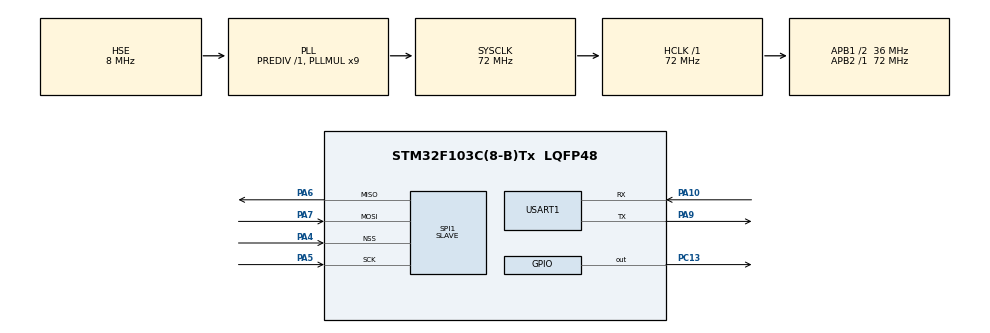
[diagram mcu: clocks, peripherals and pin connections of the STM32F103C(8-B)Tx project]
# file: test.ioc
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Mcu.Family=STM32F1
Mcu.Name=STM32F103C(8-B)Tx
Mcu.Package=LQFP48
NVIC.PriorityGroup=NVIC_PRIORITYGROUP_4
NVIC.SPI1_IRQn=true\:0\:0\:false\:false\:true\:true\:true\:true
NVIC.USART1_IRQn=true\:0\:0\:false\:false\:true\:true\:true\:true
PA10.Mode=Asynchronous
PA10.Signal=USART1_RX
PA13.Mode=Serial_Wire
PA13.Signal=SYS_JTMS-SWDIO
PA14.Mode=Serial_Wire
PA14.Signal=SYS_JTCK-SWCLK
PA4.Mode=NSS_Signal_Hard_Input
PA4.Signal=SPI1_NSS
PA5.Mode=Full_Duplex_Slave
PA5.Signal=SPI1_SCK
PA6.Mode=Full_Duplex_Slave
PA6.Signal=SPI1_MISO
PA7.Mode=Full_Duplex_Slave
PA7.Signal=SPI1_MOSI
PA9.Mode=Asynchronous
PA9.Signal=USART1_TX
PC13-TAMPER-RTC.GPIO_Speed=GPIO_SPEED_FREQ_HIGH
PC13-TAMPER-RTC.PinState=GPIO_PIN_RESET
PC13-TAMPER-RTC.Signal=GPIO_Output
PD0-OSC_IN.Mode=HSE-External-Oscillator
PD0-OSC_IN.Signal=RCC_OSC_IN
PD1-OSC_OUT.Mode=HSE-External-Oscillator
PD1-OSC_OUT.Signal=RCC_OSC_OUT
ProjectManager.HeapSize=0x200
ProjectManager.StackSize=0x400
ProjectManager.TargetToolchain=STM32CubeIDE
RCC.AHBFreq_Value=72000000
RCC.APB1CLKDivider=RCC_HCLK_DIV2
RCC.APB1Freq_Value=36000000
RCC.APB1TimFreq_Value=72000000
RCC.APB2Freq_Value=72000000
RCC.APB2TimFreq_Value=72000000
RCC.HCLKFreq_Value=72000000
RCC.PLLMUL=RCC_PLL_MUL9
RCC.PLLSourceVirtual=RCC_PLLSOURCE_HSE
RCC.SYSCLKFreq_VALUE=72000000
RCC.SYSCLKSource=RCC_SYSCLKSOURCE_PLLCLK
RCC.USBFreq_Value=72000000
SPI1.Direction=SPI_DIRECTION_2LINES
SPI1.Mode=SPI_MODE_SLAVE
SPI1.VirtualNSS=VM_NSSHARD
SPI1.VirtualType=VM_SLAVE
USART1.VirtualMode=VM_ASYNC
board=custom

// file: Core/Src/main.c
/* USER CODE BEGIN Header */
/**
  ******************************************************************************
  * @file           : main.c
  * @brief          : Main program body
  ******************************************************************************
  * @attention
  *
  * Copyright (c) 2023 STMicroelectronics.
  * All rights reserved.
  *
  * This software is licensed under terms that can be found in the LICENSE file
  * in the root directory of this software component.
  * If no LICENSE file comes with this software, it is provided AS-IS.
  *
  ******************************************************************************
  */
/* USER CODE END Header */
#include "main.h"
#include "spi.h"
#include "usart.h"
#include "gpio.h"

/* USER CODE BEGIN PD */
uint8_t RxBuffer[LENGTH];
uint8_t SPISTxBuffer[LENGTH];
uint8_t	SPISRxBuffer[LENGTH];
/* USER CODE END PD */

void SystemClock_Config(void);

int main(void)
{

  /* MCU Configuration--------------------------------------------------------*/

  /* Reset of all peripherals, Initializes the Flash interface and the Systick. */
  HAL_Init();

  /* Configure the system clock */
  SystemClock_Config();

  /* Initialize all configured peripherals */
  MX_GPIO_Init();
  MX_SPI1_Init();
  MX_USART1_UART_Init();
  /* USER CODE BEGIN 2 */
  SPIS_Init_IT();
  HAL_UART_Receive_IT(&huart1,(uint8_t*)RxBuffer,LENGTH);
  USART_printf("Init ok");
  /* USER CODE END 2 */

  /* Infinite loop */
  while (1)
  {

  }
}

void SystemClock_Config(void)
{
  RCC_OscInitTypeDef RCC_OscInitStruct = {0};
  RCC_ClkInitTypeDef RCC_ClkInitStruct = {0};

  /** Initializes the RCC Oscillators according to the specified parameters
  * in the RCC_OscInitTypeDef structure.
  */
  RCC_OscInitStruct.OscillatorType = RCC_OSCILLATORTYPE_HSE;
  RCC_OscInitStruct.HSEState = RCC_HSE_ON;
  RCC_OscInitStruct.HSEPredivValue = RCC_HSE_PREDIV_DIV1;
  RCC_OscInitStruct.HSIState = RCC_HSI_ON;
  RCC_OscInitStruct.PLL.PLLState = RCC_PLL_ON;
  RCC_OscInitStruct.PLL.PLLSource = RCC_PLLSOURCE_HSE;
  RCC_OscInitStruct.PLL.PLLMUL = RCC_PLL_MUL9;
  if (HAL_RCC_OscConfig(&RCC_OscInitStruct) != HAL_OK)
  {
    Error_Handler();
  }

  /** Initializes the CPU, AHB and APB buses clocks
  */
  RCC_ClkInitStruct.ClockType = RCC_CLOCKTYPE_HCLK|RCC_CLOCKTYPE_SYSCLK
                              |RCC_CLOCKTYPE_PCLK1|RCC_CLOCKTYPE_PCLK2;
  RCC_ClkInitStruct.SYSCLKSource = RCC_SYSCLKSOURCE_PLLCLK;
  RCC_ClkInitStruct.AHBCLKDivider = RCC_SYSCLK_DIV1;
  RCC_ClkInitStruct.APB1CLKDivider = RCC_HCLK_DIV2;
  RCC_ClkInitStruct.APB2CLKDivider = RCC_HCLK_DIV1;

  if (HAL_RCC_ClockConfig(&RCC_ClkInitStruct, FLASH_LATENCY_2) != HAL_OK)
  {
    Error_Handler();
  }
}

/* USER CODE BEGIN 4 */
void HAL_UART_RxCpltCallback(UART_HandleTypeDef*huart)
{
	if(huart->Instance==USART1)
	{

		if(RxBuffer[0]=='t')
		{
			USART_printf("OK");
			HAL_SPI_Transmit(&hspi1,(uint8_t *)SPISTxBuffer,LENGTH,HAL_MAX_DELAY);
			HAL_UART_Receive_IT(&huart1,(uint8_t *)RxBuffer,LENGTH);
		}

	}
}
void HAL_SPI_RxCpltCallback(SPI_HandleTypeDef *hspi)
{
	if(hspi==&hspi1)
	{
		USART_printf("%d\n",SPISRxBuffer[0]);
		if(SPISRxBuffer[0]==0x11)
		{
			USART_printf("%d\n",SPISRxBuffer[0]);
			HAL_SPI_Transmit(&hspi1,(uint8_t *)SPISTxBuffer,LENGTH,HAL_MAX_DELAY);
		}
		HAL_SPI_Receive_IT(&hspi1,(uint8_t *)SPISRxBuffer,LENGTH);
	}
}
/* USER CODE END 4 */

void Error_Handler(void)
{
  __disable_irq();
  while (1)
  {
  }
}
